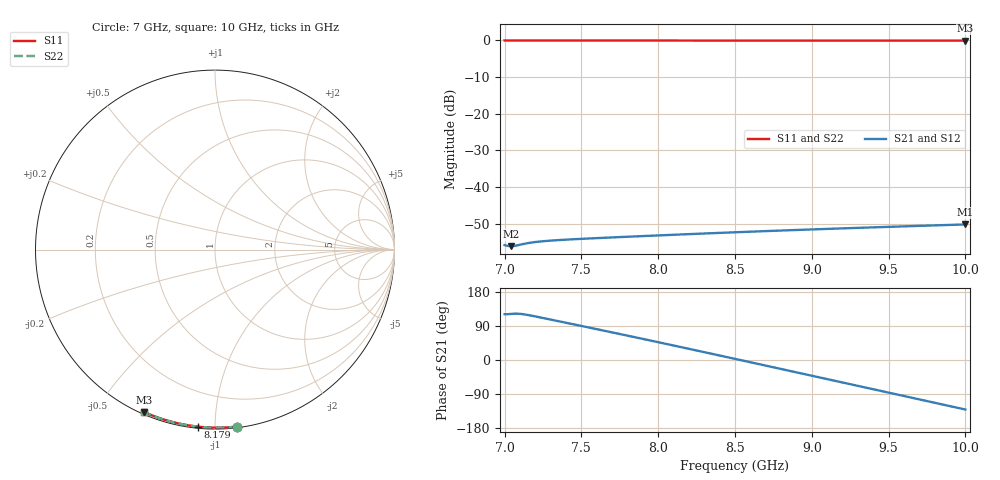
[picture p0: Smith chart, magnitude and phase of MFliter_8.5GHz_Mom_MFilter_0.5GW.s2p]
# MHz S MA R 50
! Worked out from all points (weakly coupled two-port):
!   53 points, 7 GHz to 10 GHz, reference 50 ohm
!   highest |S21| = -50.17 dB at 10 GHz (marker M1); lowest = -56.1 dB at 7.04 GHz (marker M2)
!   lowest |S11| = -0.1 dB at 10 GHz (marker M3), VSWR 159.14, Z = 0.448 - j32.6 ohm
!   |S11| at or under -10 dB: nowhere
!   |S22| runs from -0.1 to -0.1 dB; largest |S21 - S12| = 0
!   S11 on the Smith chart (normalised r, x): 7 GHz: 0.01, -1.13; 8.179 GHz: 0.01, -0.91; 10 GHz: 0.01, -0.65
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7000  0.9939 -83.0  0.001621 120.9  0.001621 120.9  0.9939 -83.0
7013.393  0.9938 -83.1  0.001594 120.8  0.001594 120.8  0.9938 -83.1
7026.786  0.9937 -83.3  0.001576 121.1  0.001576 121.1  0.9937 -83.3
7040.179  0.9936 -83.5  0.001568 121.5  0.001568 121.5  0.9936 -83.5
7053.571  0.9935 -83.6  0.001572 121.9  0.001572 121.9  0.9935 -83.6
7066.964  0.9934 -83.8  0.001585 122.2  0.001585 122.2  0.9934 -83.8
7133.929  0.9931 -84.5  0.001699 120.0  0.001699 120.0  0.9931 -84.5
7160.714  0.993 -84.8  0.001738 118.1  0.001738 118.1  0.9929 -84.8
7214.286  0.9928 -85.4  0.001799 113.8  0.001799 113.8  0.9928 -85.4
7267.857  0.9926 -86.0  0.001844 109.4  0.001844 109.4  0.9926 -86.0
7321.429  0.9925 -86.6  0.00188 104.9  0.00188 104.9  0.9925 -86.6
7428.571  0.9922 -87.7  0.001938 95.8  0.001938 95.8  0.9922 -87.7
7535.714  0.992 -88.9  0.001989 86.8  0.001989 86.8  0.992 -88.9
7750  0.9916 -91.1  0.002085 68.6  0.002085 68.6  0.9916 -91.1
8017.857  0.9911 -93.9  0.002204 45.4  0.002204 45.4  0.9911 -93.9
8178.571  0.9908 -95.6  0.002277 31.4  0.002277 31.4  0.9908 -95.6
8500  0.9903 -98.9  0.002424 3.0  0.002424 3.0  0.9903 -98.9
8714.286  0.9899 -101.1  0.002521 -16.1  0.002521 -16.1  0.9899 -101.1
9035.714  0.9893 -104.3  0.002666 -44.7  0.002666 -44.7  0.9893 -104.3
9250  0.9889 -106.4  0.002762 -63.8  0.002762 -63.8  0.9889 -106.4
9571.429  0.9883 -109.6  0.002906 -92.5  0.002906 -92.5  0.9884 -109.6
10000  0.9875 -113.7  0.003099 -130.7  0.003099 -130.7  0.9875 -113.7
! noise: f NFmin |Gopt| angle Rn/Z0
7000  17.4  0.994  82.96  2582
7067  18.3  0.9935  83.76  2886
7188  18  0.993  85.1  2444
7482  17.93  0.9924  88.28  2083
7804  18.02  0.9917  91.69  1835
8071  18.09  0.991  94.49  1646
8393  18.16  0.9902  97.8  1441
8714  18.16  0.9896  101.1  1265
9357  18.03  0.9888  107.4  990
1e+04  17.96  0.9878  113.7  762.3
